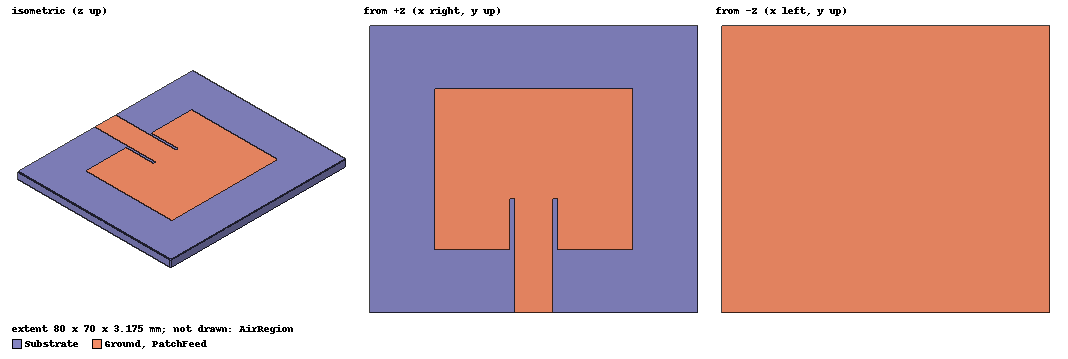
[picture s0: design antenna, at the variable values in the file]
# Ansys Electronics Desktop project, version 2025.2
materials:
  vacuum: permittivity=1
  AntennaSubstrate: permittivity=2.2 permeability=1 dielectric_loss_tangent=0.0009
  copper: permeability=0.999991 conductivity=58000000
  air: permittivity=1.0006 permeability=1.0000004

design antenna (HFSS, HFSS Modal Network, model units mm)
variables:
  freq0 = 2.45GHz
  sub_w = 80mm
  sub_l = 70mm
  sub_h = 3.175mm
  patch_w = 48.4mm
  patch_l = 39.4mm
  feed_w = 9.5mm
  inset_d = 12.5mm
  inset_gap = 1mm
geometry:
  Substrate [AntennaSubstrate] = box(corner=(-40mm, -35mm, 0mm), size=(80mm, 70mm, 3.175mm))
  Ground [copper] = rectangle(corner=(-40mm, -35mm, 0mm), x_size=80mm, y_size=70mm)
  PatchFeed [copper] = polyline(z=3.175mm, xy in mm: (-24.2, 19.7) (24.2, 19.7) (24.2, -19.7) (5.75, -19.7) (5.75, -7.2) (4.75, -7.2) (4.75, -35) (-4.75, -35) (-4.75, -7.2) (-5.75, -7.2) (-5.75, -19.7) (-24.2, -19.7) (-24.2, 19.7), closed, covered)
  Port1_sheet = polyline(y=-35mm, xz in mm: (-4.75, 0) (4.75, 0) (4.75, 3.175) (-4.75, 3.175) (-4.75, 0), closed, covered)
  AirRegion [air] = region(absolute_offset: +X=25mm, -X=25mm, +Y=25mm, -Y=25mm, +Z=35mm, -Z=15mm)
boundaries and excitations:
  PEC_Metals: Perfect E Objects=[Ground, PatchFeed]
  Rad1: Radiation Objects=AirRegion
  Port1: Lumped Port Objects=Port1_sheet LumpedPortType=Modal Modes{Mode1{IntLine{(0, -35, 3.175) -> (0, -35, 0)} CharImp=Zpi RenormImp=50ohm}} Impedance=50ohm
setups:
  Setup1: HfssDriven Frequency=2.45GHz MaxDeltaS=0.02 MaximumPasses=12 MinimumPasses=2 MinimumConvergedPasses=1 PercentRefinement=30 BasisOrder=1 PortAccuracy=2 DrivenSolverType="Direct Solver"
    sweep Sweep1: 2GHz to 2.9GHz, 451 points; Type=Interpolating SaveRadFields InterpTolerance=0.5 InterpMaxSolns=250 InterpUsePortImped=false PassivityErrorTolerance=0.0001
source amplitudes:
  Port1:1: 1W 0deg
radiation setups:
  InfiniteSphere1: Infinite Sphere Theta=0deg..180deg step 5deg Phi=-180deg..180deg step 5deg
